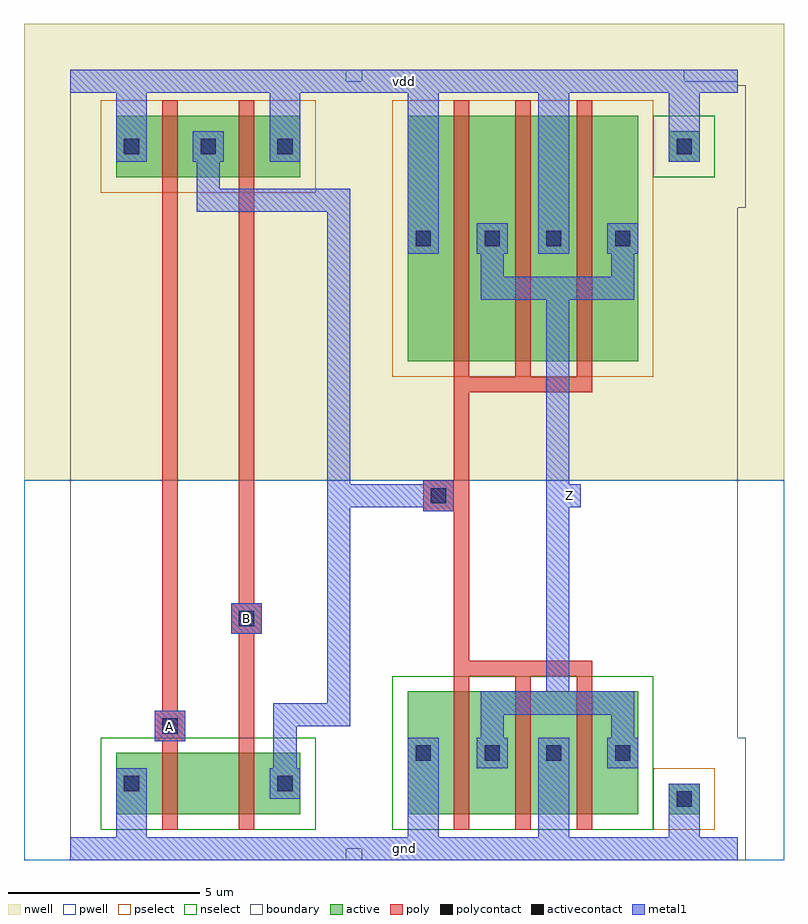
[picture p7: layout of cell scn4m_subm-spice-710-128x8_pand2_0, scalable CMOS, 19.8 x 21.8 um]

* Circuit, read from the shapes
.subckt scn4m_subm-spice-710-128x8_pand2_0 A B Z gnd vdd
M1 scn4m_subm-spice-710-128x8_pnand2_0_0/scn4m_subm-spice-710-128x8_nmos_m1_w1_600_sm1_dactive_2/D A gnd gnd nfet w=1.6u l=0.4u
M2 scn4m_subm-spice-710-128x8_pdriver_0_1/A B scn4m_subm-spice-710-128x8_pnand2_0_0/scn4m_subm-spice-710-128x8_nmos_m1_w1_600_sm1_dactive_2/D gnd nfet w=1.6u l=0.4u
M3 Z scn4m_subm-spice-710-128x8_pdriver_0_1/A gnd gnd nfet w=3.2u l=0.4u m=3
M4 scn4m_subm-spice-710-128x8_pdriver_0_1/A A vdd vdd pfet w=1.6u l=0.4u
M5 vdd B scn4m_subm-spice-710-128x8_pdriver_0_1/A vdd pfet w=1.6u l=0.4u
M6 Z scn4m_subm-spice-710-128x8_pdriver_0_1/A vdd vdd pfet w=6.4u l=0.4u m=3
.ends

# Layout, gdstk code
import gdstk
lib = gdstk.Library(unit=1e-6, precision=1e-09)
def R(c, l, rs):  # rectangles x0, y0, x1, y1
    for r in rs: c.add(gdstk.rectangle(r[:2], r[2:], *l))
def A(c, l, x, y, w, h, nx, ny, dx, dy):  # array of equal rectangles
    R(c, l, [(x+i*dx, y+j*dy, x+i*dx+w, y+j*dy+h) for i in range(nx) for j in range(ny)])
pwell = (41, 0)
nwell = (42, 0)
active = (43, 0)
pselect = (44, 0)
nselect = (45, 0)
poly = (46, 0)
polycontact = (47, 0)
activecontact = (48, 0)
metal1 = (49, 0)
boundary = (63, 0)

scn4m_subm_spice_710_128 = lib.new_cell('scn4m_subm-spice-710-128x8_contact_12')
R(scn4m_subm_spice_710_128, nwell, [(-1.2,-1.2,2,2)])
R(scn4m_subm_spice_710_128, active, [(0,0,0.8,0.8)])
R(scn4m_subm_spice_710_128, pselect, [(-0.4,-0.4,1.2,1.2)])
R(scn4m_subm_spice_710_128, activecontact, [(0.2,0.2,0.6,0.6)])
R(scn4m_subm_spice_710_128, metal1, [(0,0,0.8,0.8)])
R(scn4m_subm_spice_710_128, boundary, [(-1.2,-1.2,2,2)])

c_scn4m_subm_spice_710_128 = lib.new_cell('scn4m_subm-spice-710-128x8_pmos_m1_w1_600_sm1_dm1')
R(c_scn4m_subm_spice_710_128, nwell, [(-1.2,-1.2,4,2.8)])
R(c_scn4m_subm_spice_710_128, active, [(0,0,2.8,1.6)])
R(c_scn4m_subm_spice_710_128, pselect, [(-0.4,-0.4,3.2,2)])
R(c_scn4m_subm_spice_710_128, poly, [(1.2,-0.4,1.6,2), (1.2,-0.4,1.6,2)])
R(c_scn4m_subm_spice_710_128, metal1, [(0,0.4,0.8,1.2), (2,0.4,2.8,1.2)])
R(c_scn4m_subm_spice_710_128, boundary, [(-1.2,-1.2,4,2.8)])
c_scn4m_subm_spice_710_128.add(gdstk.Reference(scn4m_subm_spice_710_128, (0,0.4)))
c_scn4m_subm_spice_710_128.add(gdstk.Reference(scn4m_subm_spice_710_128, (2,0.4)))
c_scn4m_subm_spice_710_128.add(gdstk.Label('G', (1.4,0.8), layer=46, texttype=0))
c_scn4m_subm_spice_710_128.add(gdstk.Label('S', (0.4,0.8), layer=49, texttype=0))
c_scn4m_subm_spice_710_128.add(gdstk.Label('D', (2.4,0.8), layer=49, texttype=0))

c_scn4m_subm_spice_710_128_ = lib.new_cell('scn4m_subm-spice-710-128x8_contact_11')
R(c_scn4m_subm_spice_710_128_, pwell, [(-1.2,-1.2,2,2)])
R(c_scn4m_subm_spice_710_128_, active, [(0,0,0.8,0.8)])
R(c_scn4m_subm_spice_710_128_, nselect, [(-0.4,-0.4,1.2,1.2)])
R(c_scn4m_subm_spice_710_128_, activecontact, [(0.2,0.2,0.6,0.6)])
R(c_scn4m_subm_spice_710_128_, metal1, [(0,0,0.8,0.8)])
R(c_scn4m_subm_spice_710_128_, boundary, [(-1.2,-1.2,2,2)])

c_scn4m_subm_spice_710_128__ = lib.new_cell('scn4m_subm-spice-710-128x8_nmos_m1_w1_600_sm1_dactive')
R(c_scn4m_subm_spice_710_128__, pwell, [(-1.2,-1.2,4,2.8)])
R(c_scn4m_subm_spice_710_128__, active, [(0,0,2.8,1.6), (2.1,0.5,2.7,1.1)])
R(c_scn4m_subm_spice_710_128__, nselect, [(-0.4,-0.4,3.2,2)])
R(c_scn4m_subm_spice_710_128__, poly, [(1.2,-0.4,1.6,2), (1.2,-0.4,1.6,2)])
R(c_scn4m_subm_spice_710_128__, metal1, [(0,0.4,0.8,1.2)])
R(c_scn4m_subm_spice_710_128__, boundary, [(-1.2,-1.2,4,2.8)])
c_scn4m_subm_spice_710_128__.add(gdstk.Reference(c_scn4m_subm_spice_710_128_, (0,0.4)))
c_scn4m_subm_spice_710_128__.add(gdstk.Label('G', (1.4,0.8), layer=46, texttype=0))
c_scn4m_subm_spice_710_128__.add(gdstk.Label('S', (0.4,0.8), layer=49, texttype=0))
c_scn4m_subm_spice_710_128__.add(gdstk.Label('D', (2.4,0.8), layer=43, texttype=0))

c_scn4m_subm_spice_710_128___ = lib.new_cell('scn4m_subm-spice-710-128x8_nmos_m1_w1_600_sactive_dm1')
R(c_scn4m_subm_spice_710_128___, pwell, [(-1.2,-1.2,4,2.8)])
R(c_scn4m_subm_spice_710_128___, active, [(0,0,2.8,1.6), (0.1,0.5,0.7,1.1)])
R(c_scn4m_subm_spice_710_128___, nselect, [(-0.4,-0.4,3.2,2)])
R(c_scn4m_subm_spice_710_128___, poly, [(1.2,-0.4,1.6,2), (1.2,-0.4,1.6,2)])
R(c_scn4m_subm_spice_710_128___, metal1, [(2,0.4,2.8,1.2)])
R(c_scn4m_subm_spice_710_128___, boundary, [(-1.2,-1.2,4,2.8)])
c_scn4m_subm_spice_710_128___.add(gdstk.Reference(c_scn4m_subm_spice_710_128_, (2,0.4)))
c_scn4m_subm_spice_710_128___.add(gdstk.Label('G', (1.4,0.8), layer=46, texttype=0))
c_scn4m_subm_spice_710_128___.add(gdstk.Label('S', (0.4,0.8), layer=43, texttype=0))
c_scn4m_subm_spice_710_128___.add(gdstk.Label('D', (2.4,0.8), layer=49, texttype=0))

c_scn4m_subm_spice_710_128____ = lib.new_cell('scn4m_subm-spice-710-128x8_contact_15')
R(c_scn4m_subm_spice_710_128____, poly, [(0,0,0.8,0.8)])
R(c_scn4m_subm_spice_710_128____, polycontact, [(0.2,0.2,0.6,0.6)])
R(c_scn4m_subm_spice_710_128____, metal1, [(0,0,0.8,0.8)])
R(c_scn4m_subm_spice_710_128____, boundary, [(0,0,0.8,0.8)])

c_scn4m_subm_spice_710_128_____ = lib.new_cell('scn4m_subm-spice-710-128x8_pnand2_0')
R(c_scn4m_subm_spice_710_128_____, pwell, [(-1.2,-0.3,8.8,9.6)])
R(c_scn4m_subm_spice_710_128_____, nwell, [(-1.2,9.6,8.8,21.5)])
R(c_scn4m_subm_spice_710_128_____, poly, [(2.4,2.8,2.6,3.6), (2.4,2.9,2.8,17.1), (4.4,2.9,4.8,17.1), (4.4,5.6,4.6,6.4)])
R(c_scn4m_subm_spice_710_128_____, metal1, [(0,-0.3,7.6,0.3), (1.2,-0.3,2,1.3), (5.3,2.1,5.9,3.5), (2.2,2.8,3,3.6), (5.3,3.2,5.9,3.8), (5.6,3.2,7,3.8), (6.7,3.2,7.3,3.8), (6.7,3.5,7.3,16.9), (4.2,5.6,5,6.4), (3.3,16.6,3.9,17.2), (3.6,16.6,7,17.2), (6.7,16.6,7.3,17.2), (3.3,16.9,3.9,17.9), (1.2,17.9,2,20.3), (5.2,17.9,6,20.3), (0,19.7,7.6,20.3)])
R(c_scn4m_subm_spice_710_128_____, boundary, [(0,0,7.6,20), (0,0,7.6,20)])
c_scn4m_subm_spice_710_128_____.add(gdstk.Reference(c_scn4m_subm_spice_710_128, (1.2,17.5)))
c_scn4m_subm_spice_710_128_____.add(gdstk.Reference(c_scn4m_subm_spice_710_128, (3.2,17.5)))
c_scn4m_subm_spice_710_128_____.add(gdstk.Reference(c_scn4m_subm_spice_710_128__, (1.2,0.9)))
c_scn4m_subm_spice_710_128_____.add(gdstk.Reference(c_scn4m_subm_spice_710_128___, (3.2,0.9)))
c_scn4m_subm_spice_710_128_____.add(gdstk.Reference(c_scn4m_subm_spice_710_128____, (2.2,2.8)))
c_scn4m_subm_spice_710_128_____.add(gdstk.Reference(c_scn4m_subm_spice_710_128____, (4.2,5.6)))
c_scn4m_subm_spice_710_128_____.add(gdstk.Label('Z', (7,16.9), layer=49, texttype=0))
c_scn4m_subm_spice_710_128_____.add(gdstk.Label('gnd', (3.8,0), layer=49, texttype=0))
c_scn4m_subm_spice_710_128_____.add(gdstk.Label('vdd', (3.8,20), layer=49, texttype=0))
c_scn4m_subm_spice_710_128_____.add(gdstk.Label('A', (2.6,3.2), layer=49, texttype=0))
c_scn4m_subm_spice_710_128_____.add(gdstk.Label('B', (4.6,6), layer=49, texttype=0))

c_scn4m_subm_spice_710_128______ = lib.new_cell('scn4m_subm-spice-710-128x8_pmos_m3_w6_400_sm1_dm1_da_p')
R(c_scn4m_subm_spice_710_128______, nwell, [(-1.2,-1.2,7.2,7.6)])
R(c_scn4m_subm_spice_710_128______, active, [(0,0,6,6.4)])
R(c_scn4m_subm_spice_710_128______, pselect, [(-0.4,-0.4,6.4,6.8)])
A(c_scn4m_subm_spice_710_128______, poly, 1.2, -0.4, 0.4, 7.2, 3, 1, 1.6, 0)
R(c_scn4m_subm_spice_710_128______, poly, [(1.2,-0.8,4.8,-0.4)])
R(c_scn4m_subm_spice_710_128______, metal1, [(1.9,1.6,5.9,2.2), (1.9,1.9,2.5,3.2), (5.3,1.9,5.9,3.2), (0,2.8,0.8,3.6), (3.4,2.8,4.2,3.6)])
R(c_scn4m_subm_spice_710_128______, boundary, [(-1.2,-1.2,7.2,7.6)])
c_scn4m_subm_spice_710_128______.add(gdstk.Reference(scn4m_subm_spice_710_128, (0,2.8)))
c_scn4m_subm_spice_710_128______.add(gdstk.Reference(scn4m_subm_spice_710_128, (1.8,2.8)))
c_scn4m_subm_spice_710_128______.add(gdstk.Reference(scn4m_subm_spice_710_128, (3.4,2.8)))
c_scn4m_subm_spice_710_128______.add(gdstk.Reference(scn4m_subm_spice_710_128, (5.2,2.8)))
c_scn4m_subm_spice_710_128______.add(gdstk.Label('G', (3,-0.6), layer=46, texttype=0))
c_scn4m_subm_spice_710_128______.add(gdstk.Label('S', (0.4,3.2), layer=49, texttype=0))
c_scn4m_subm_spice_710_128______.add(gdstk.Label('S', (3.8,3.2), layer=49, texttype=0))
c_scn4m_subm_spice_710_128______.add(gdstk.Label('D', (3.9,1.9), layer=49, texttype=0))

c_scn4m_subm_spice_710_128_______ = lib.new_cell('scn4m_subm-spice-710-128x8_nmos_m3_w3_200_sm1_dm1_da_p')
R(c_scn4m_subm_spice_710_128_______, pwell, [(-1.2,-1.2,7.2,4.4)])
R(c_scn4m_subm_spice_710_128_______, active, [(0,0,6,3.2)])
R(c_scn4m_subm_spice_710_128_______, nselect, [(-0.4,-0.4,6.4,3.6)])
A(c_scn4m_subm_spice_710_128_______, poly, 1.2, -0.4, 0.4, 4, 3, 1, 1.6, 0)
R(c_scn4m_subm_spice_710_128_______, poly, [(1.2,3.6,4.8,4)])
R(c_scn4m_subm_spice_710_128_______, metal1, [(0,1.2,0.8,2), (3.4,1.2,4.2,2), (1.9,1.6,2.5,2.9), (5.3,1.6,5.9,2.9), (1.9,2.6,5.9,3.2)])
R(c_scn4m_subm_spice_710_128_______, boundary, [(-1.2,-1.2,7.2,4.4)])
c_scn4m_subm_spice_710_128_______.add(gdstk.Reference(c_scn4m_subm_spice_710_128_, (0,1.2)))
c_scn4m_subm_spice_710_128_______.add(gdstk.Reference(c_scn4m_subm_spice_710_128_, (1.8,1.2)))
c_scn4m_subm_spice_710_128_______.add(gdstk.Reference(c_scn4m_subm_spice_710_128_, (3.4,1.2)))
c_scn4m_subm_spice_710_128_______.add(gdstk.Reference(c_scn4m_subm_spice_710_128_, (5.2,1.2)))
c_scn4m_subm_spice_710_128_______.add(gdstk.Label('G', (3,3.8), layer=46, texttype=0))
c_scn4m_subm_spice_710_128_______.add(gdstk.Label('S', (0.4,1.6), layer=49, texttype=0))
c_scn4m_subm_spice_710_128_______.add(gdstk.Label('S', (3.8,1.6), layer=49, texttype=0))
c_scn4m_subm_spice_710_128_______.add(gdstk.Label('D', (3.9,2.9), layer=49, texttype=0))

c_scn4m_subm_spice_710_128________ = lib.new_cell('scn4m_subm-spice-710-128x8_contact_13')
R(c_scn4m_subm_spice_710_128________, nwell, [(-1.2,-1.2,2,2)])
R(c_scn4m_subm_spice_710_128________, active, [(0,0,0.8,0.8)])
R(c_scn4m_subm_spice_710_128________, nselect, [(-0.4,-0.4,1.2,1.2)])
R(c_scn4m_subm_spice_710_128________, activecontact, [(0.2,0.2,0.6,0.6)])
R(c_scn4m_subm_spice_710_128________, metal1, [(0,0,0.8,0.8)])
R(c_scn4m_subm_spice_710_128________, boundary, [(-1.2,-1.2,2,2)])

c_scn4m_subm_spice_710_128_________ = lib.new_cell('scn4m_subm-spice-710-128x8_contact_14')
R(c_scn4m_subm_spice_710_128_________, pwell, [(-1.2,-1.2,2,2)])
R(c_scn4m_subm_spice_710_128_________, active, [(0,0,0.8,0.8)])
R(c_scn4m_subm_spice_710_128_________, pselect, [(-0.4,-0.4,1.2,1.2)])
R(c_scn4m_subm_spice_710_128_________, activecontact, [(0.2,0.2,0.6,0.6)])
R(c_scn4m_subm_spice_710_128_________, metal1, [(0,0,0.8,0.8)])
R(c_scn4m_subm_spice_710_128_________, boundary, [(-1.2,-1.2,2,2)])

c_scn4m_subm_spice_710_128__________ = lib.new_cell('scn4m_subm-spice-710-128x8_pinv_5')
R(c_scn4m_subm_spice_710_128__________, pwell, [(-1.2,-0.3,11,9.6)])
R(c_scn4m_subm_spice_710_128__________, nwell, [(-1.2,9.6,11,21.5)])
R(c_scn4m_subm_spice_710_128__________, poly, [(2.4,4.9,2.8,11.9), (2,8.8,2.4,9.6)])
R(c_scn4m_subm_spice_710_128__________, metal1, [(0,-0.3,9.8,0.3), (1.2,-0.3,2,2.1), (4.6,-0.3,5.4,2.1), (8,0,8.8,1.3), (4.8,3.5,5.4,14.9), (1.6,8.8,2.4,9.6), (5.1,8.9,5.7,9.5), (1.2,15.5,2,20.3), (4.6,15.5,5.4,20.3), (8,18.3,8.8,20), (0,19.7,9.8,20.3)])
R(c_scn4m_subm_spice_710_128__________, boundary, [(0,0,9.8,20), (0,0,9.8,20)])
c_scn4m_subm_spice_710_128__________.add(gdstk.Reference(c_scn4m_subm_spice_710_128______, (1.2,12.7)))
c_scn4m_subm_spice_710_128__________.add(gdstk.Reference(c_scn4m_subm_spice_710_128_______, (1.2,0.9)))
c_scn4m_subm_spice_710_128__________.add(gdstk.Reference(c_scn4m_subm_spice_710_128________, (8,17.9)))
c_scn4m_subm_spice_710_128__________.add(gdstk.Reference(c_scn4m_subm_spice_710_128_________, (8,0.9)))
c_scn4m_subm_spice_710_128__________.add(gdstk.Reference(c_scn4m_subm_spice_710_128____, (1.6,8.8)))
c_scn4m_subm_spice_710_128__________.add(gdstk.Label('A', (2,9.2), layer=49, texttype=0))
c_scn4m_subm_spice_710_128__________.add(gdstk.Label('Z', (5.4,9.2), layer=49, texttype=0))
c_scn4m_subm_spice_710_128__________.add(gdstk.Label('gnd', (4.9,0), layer=49, texttype=0))
c_scn4m_subm_spice_710_128__________.add(gdstk.Label('vdd', (4.9,20), layer=49, texttype=0))

c_scn4m_subm_spice_710_128___________ = lib.new_cell('scn4m_subm-spice-710-128x8_pdriver_0')
R(c_scn4m_subm_spice_710_128___________, pwell, [(-1.2,-0.3,11,9.6)])
R(c_scn4m_subm_spice_710_128___________, nwell, [(-1.2,9.6,11,21.5)])
R(c_scn4m_subm_spice_710_128___________, metal1, [(0,-0.3,9.8,0.3), (1.6,8.8,2.4,9.6), (5.1,8.9,5.7,9.5), (0,19.7,9.8,20.3)])
R(c_scn4m_subm_spice_710_128___________, boundary, [(0,0,9.8,20), (0,0,9.8,20)])
c_scn4m_subm_spice_710_128___________.add(gdstk.Reference(c_scn4m_subm_spice_710_128__________, (0,0)))
c_scn4m_subm_spice_710_128___________.add(gdstk.Label('Z', (5.4,9.2), layer=49, texttype=0))
c_scn4m_subm_spice_710_128___________.add(gdstk.Label('A', (2,9.2), layer=49, texttype=0))
c_scn4m_subm_spice_710_128___________.add(gdstk.Label('gnd', (4.9,0), layer=49, texttype=0))
c_scn4m_subm_spice_710_128___________.add(gdstk.Label('vdd', (4.9,20), layer=49, texttype=0))

c_scn4m_subm_spice_710_128____________ = lib.new_cell('scn4m_subm-spice-710-128x8_pand2_0')
R(c_scn4m_subm_spice_710_128____________, metal1, [(0,-0.3,17.4,0.3), (2.2,2.8,3,3.6), (4.2,5.6,5,6.4), (6.7,8.9,7.3,9.5), (7,8.9,9.6,9.5), (12.7,8.9,13.3,9.5), (6.7,9.2,7.3,16.9), (0,19.7,17.4,20.3)])
R(c_scn4m_subm_spice_710_128____________, boundary, [(0,0,17.4,20), (0,0,17.4,20)])
c_scn4m_subm_spice_710_128____________.add(gdstk.Reference(c_scn4m_subm_spice_710_128_____, (0,0)))
c_scn4m_subm_spice_710_128____________.add(gdstk.Reference(c_scn4m_subm_spice_710_128___________, (7.6,0)))
c_scn4m_subm_spice_710_128____________.add(gdstk.Label('Z', (13,9.2), layer=49, texttype=0))
c_scn4m_subm_spice_710_128____________.add(gdstk.Label('A', (2.6,3.2), layer=49, texttype=0))
c_scn4m_subm_spice_710_128____________.add(gdstk.Label('B', (4.6,6), layer=49, texttype=0))
c_scn4m_subm_spice_710_128____________.add(gdstk.Label('gnd', (8.7,0), layer=49, texttype=0))
c_scn4m_subm_spice_710_128____________.add(gdstk.Label('vdd', (8.7,20), layer=49, texttype=0))

lib.write_gds('scn4m_subm-spice-710-128x8_pand2_0.gds')
